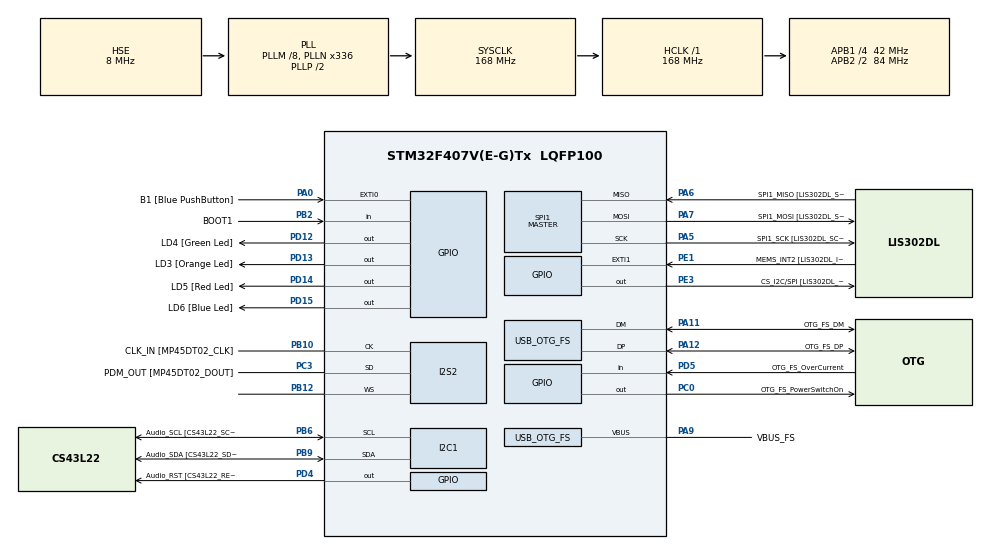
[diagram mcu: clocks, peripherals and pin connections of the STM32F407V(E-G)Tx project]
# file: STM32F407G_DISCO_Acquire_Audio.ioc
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Dma.Request0=SPI2_RX
Dma.SPI2_RX.0.Direction=DMA_PERIPH_TO_MEMORY
Dma.SPI2_RX.0.FIFOMode=DMA_FIFOMODE_DISABLE
Dma.SPI2_RX.0.Instance=DMA1_Stream3
Dma.SPI2_RX.0.MemDataAlignment=DMA_MDATAALIGN_HALFWORD
Dma.SPI2_RX.0.MemInc=DMA_MINC_ENABLE
Dma.SPI2_RX.0.Mode=DMA_CIRCULAR
Dma.SPI2_RX.0.PeriphDataAlignment=DMA_PDATAALIGN_HALFWORD
Dma.SPI2_RX.0.PeriphInc=DMA_PINC_DISABLE
Dma.SPI2_RX.0.Priority=DMA_PRIORITY_LOW
I2S2.AudioFreq=I2S_AUDIOFREQ_48K
I2S2.DataFormat=I2S_DATAFORMAT_16B_EXTENDED
I2S2.ErrorAudioFreq=0.8 %
I2S2.FullDuplexMode=I2S_FULLDUPLEXMODE_DISABLE
I2S2.Instance=SPI$Index
I2S2.Mode=I2S_MODE_MASTER_RX
I2S2.RealAudioFreq=48.387 KHz
I2S2.Standard=I2S_STANDARD_MSB
I2S2.VirtualMode=I2S_MODE_MASTER
Mcu.Family=STM32F4
Mcu.Name=STM32F407V(E-G)Tx
Mcu.Package=LQFP100
NVIC.DMA1_Stream3_IRQn=true\:0\:0\:false\:false\:true\:false\:true\:true
NVIC.OTG_FS_IRQn=true\:0\:0\:false\:false\:true\:true\:true\:true
NVIC.PriorityGroup=NVIC_PRIORITYGROUP_0
PA0-WKUP.GPIO_Label=B1 [Blue PushButton]
PA0-WKUP.GPIO_ModeDefaultEXTI=GPIO_MODE_EVT_RISING
PA0-WKUP.GPIO_PuPd=GPIO_NOPULL
PA0-WKUP.Signal=GPXTI0
PA10.GPIO_Label=OTG_FS_ID
PA10.GPIO_Mode=GPIO_MODE_AF_PP
PA10.GPIO_PuPd=GPIO_NOPULL
PA10.GPIO_Speed=GPIO_SPEED_FREQ_LOW
PA10.Signal=USB_OTG_FS_ID
PA11.GPIO_Label=OTG_FS_DM
PA11.GPIO_Mode=GPIO_MODE_AF_PP
PA11.GPIO_PuPd=GPIO_NOPULL
PA11.GPIO_Speed=GPIO_SPEED_FREQ_LOW
PA11.Mode=Host_Only
PA11.Signal=USB_OTG_FS_DM
PA12.GPIO_Label=OTG_FS_DP
PA12.GPIO_Mode=GPIO_MODE_AF_PP
PA12.GPIO_PuPd=GPIO_NOPULL
PA12.GPIO_Speed=GPIO_SPEED_FREQ_LOW
PA12.Mode=Host_Only
PA12.Signal=USB_OTG_FS_DP
PA13.GPIO_Label=SWDIO
PA13.Mode=Serial_Wire
PA13.Signal=SYS_JTMS-SWDIO
PA14.GPIO_Label=SWCLK
PA14.Mode=Serial_Wire
PA14.Signal=SYS_JTCK-SWCLK
PA4.GPIO_Label=I2S3_WS [CS43L22_LRCK]
PA4.GPIO_Mode=GPIO_MODE_AF_PP
PA4.GPIO_PuPd=GPIO_NOPULL
PA4.GPIO_Speed=GPIO_SPEED_FREQ_LOW
PA4.Signal=I2S3_WS
PA5.GPIO_Label=SPI1_SCK [LIS302DL_SCL/SPC]
PA5.GPIO_Mode=GPIO_MODE_AF_PP
PA5.GPIO_PuPd=GPIO_NOPULL
PA5.GPIO_Speed=GPIO_SPEED_FREQ_LOW
PA5.Mode=Full_Duplex_Master
PA5.Signal=SPI1_SCK
PA6.GPIO_Label=SPI1_MISO [LIS302DL_SDO]
PA6.GPIO_Mode=GPIO_MODE_AF_PP
PA6.GPIO_PuPd=GPIO_NOPULL
PA6.GPIO_Speed=GPIO_SPEED_FREQ_LOW
PA6.Mode=Full_Duplex_Master
PA6.Signal=SPI1_MISO
PA7.GPIO_Label=SPI1_MOSI [LIS302DL_SDA/SDI/SDO]
PA7.GPIO_Mode=GPIO_MODE_AF_PP
PA7.GPIO_PuPd=GPIO_NOPULL
PA7.GPIO_Speed=GPIO_SPEED_FREQ_LOW
PA7.Mode=Full_Duplex_Master
PA7.Signal=SPI1_MOSI
PA9.GPIO_Label=VBUS_FS
PA9.GPIO_Mode=GPIO_MODE_INPUT
PA9.GPIO_PuPd=GPIO_NOPULL
PA9.Mode=Activate_VBUS
PA9.Signal=USB_OTG_FS_VBUS
PB10.GPIO_Label=CLK_IN [MP45DT02_CLK]
PB10.GPIO_Mode=GPIO_MODE_AF_PP
PB10.GPIO_PuPd=GPIO_NOPULL
PB10.GPIO_Speed=GPIO_SPEED_FREQ_LOW
PB10.Mode=Half_Duplex_Master
PB10.Signal=I2S2_CK
PB12.Mode=Half_Duplex_Master
PB12.Signal=I2S2_WS
PB2.GPIO_Label=BOOT1
PB2.GPIO_Mode=GPIO_MODE_INPUT
PB2.GPIO_PuPd=GPIO_NOPULL
PB2.Signal=GPIO_Input
PB3.GPIO_Label=SWO
PB3.Signal=SYS_JTDO-SWO
PB6.GPIO_Label=Audio_SCL [CS43L22_SCL]
PB6.GPIO_Mode=GPIO_MODE_AF_OD
PB6.GPIO_Pu=GPIO_PULLUP
PB6.GPIO_PuPd=GPIO_NOPULL
PB6.GPIO_Speed=GPIO_SPEED_FREQ_LOW
PB6.Mode=I2C
PB6.Signal=I2C1_SCL
PB9.GPIO_Label=Audio_SDA [CS43L22_SDA]
PB9.GPIO_Mode=GPIO_MODE_AF_OD
PB9.GPIO_Pu=GPIO_PULLUP
PB9.GPIO_PuPd=GPIO_NOPULL
PB9.GPIO_Speed=GPIO_SPEED_FREQ_LOW
PB9.Mode=I2C
PB9.Signal=I2C1_SDA
PC0.GPIO_Label=OTG_FS_PowerSwitchOn
PC0.GPIO_PuPd=GPIO_NOPULL
PC0.GPIO_Speed=GPIO_SPEED_FREQ_LOW
PC0.PinState=GPIO_PIN_SET
PC0.Signal=GPIO_Output
PC10.GPIO_Label=I2S3_SCK [CS43L22_SCLK]
PC10.GPIO_Mode=GPIO_MODE_AF_PP
PC10.GPIO_PuPd=GPIO_NOPULL
PC10.GPIO_Speed=GPIO_SPEED_FREQ_LOW
PC10.Signal=I2S3_CK
PC12.GPIO_Label=I2S3_SD [CS43L22_SDIN]
PC12.GPIO_Mode=GPIO_MODE_AF_PP
PC12.GPIO_PuPd=GPIO_NOPULL
PC12.GPIO_Speed=GPIO_SPEED_FREQ_LOW
PC12.Signal=I2S3_SD
PC14-OSC32_IN.GPIO_Label=PC14-OSC32_IN
PC14-OSC32_IN.Mode=LSE-External-Oscillator
PC14-OSC32_IN.Signal=RCC_OSC32_IN
PC15-OSC32_OUT.GPIO_Label=PC15-OSC32_OUT
PC15-OSC32_OUT.Mode=LSE-External-Oscillator
PC15-OSC32_OUT.Signal=RCC_OSC32_OUT
PC3.GPIO_Label=PDM_OUT [MP45DT02_DOUT]
PC3.GPIO_Mode=GPIO_MODE_AF_PP
PC3.GPIO_PuPd=GPIO_NOPULL
PC3.GPIO_Speed=GPIO_SPEED_FREQ_LOW
PC3.Mode=Half_Duplex_Master
PC3.Signal=I2S2_SD
PC7.GPIO_Label=I2S3_MCK [CS43L22_MCLK]
PC7.GPIO_Mode=GPIO_MODE_AF_PP
PC7.GPIO_PuPd=GPIO_NOPULL
PC7.GPIO_Speed=GPIO_SPEED_FREQ_LOW
PC7.Signal=I2S3_MCK
PD12.GPIO_Label=LD4 [Green Led]
PD12.GPIO_PuPd=GPIO_NOPULL
PD12.GPIO_Speed=GPIO_SPEED_FREQ_LOW
PD12.Signal=GPIO_Output
PD13.GPIO_Label=LD3 [Orange Led]
PD13.GPIO_PuPd=GPIO_NOPULL
PD13.GPIO_Speed=GPIO_SPEED_FREQ_LOW
PD13.Signal=GPIO_Output
PD14.GPIO_Label=LD5 [Red Led]
PD14.GPIO_PuPd=GPIO_NOPULL
PD14.GPIO_Speed=GPIO_SPEED_FREQ_LOW
PD14.Signal=GPIO_Output
PD15.GPIO_Label=LD6 [Blue Led]
PD15.GPIO_PuPd=GPIO_NOPULL
PD15.GPIO_Speed=GPIO_SPEED_FREQ_LOW
PD15.Signal=GPIO_Output
PD4.GPIO_Label=Audio_RST [CS43L22_RESET]
PD4.GPIO_PuPd=GPIO_NOPULL
PD4.GPIO_Speed=GPIO_SPEED_FREQ_LOW
PD4.Signal=GPIO_Output
PD5.GPIO_Label=OTG_FS_OverCurrent
PD5.GPIO_Mode=GPIO_MODE_INPUT
PD5.GPIO_PuPd=GPIO_NOPULL
PD5.Signal=GPIO_Input
PDM2PCM.CHANNEL1_bit_order=PDM_FILTER_BIT_ORDER_LSB
PDM2PCM.CHANNEL1_decimation_factor=PDM_FILTER_DEC_FACTOR_64
PDM2PCM.CHANNEL1_in_ptr_channels=1
PDM2PCM.CHANNEL1_out_ptr_channels=1
PDM2PCM.CHANNEL1_output_samples_number=48
PE1.GPIO_Label=MEMS_INT2 [LIS302DL_INT2]
PE1.GPIO_ModeDefaultEXTI=GPIO_MODE_EVT_RISING
PE1.GPIO_PuPd=GPIO_NOPULL
PE1.Signal=GPXTI1
PE3.GPIO_Label=CS_I2C/SPI [LIS302DL_CS_I2C/SPI]
PE3.GPIO_PuPd=GPIO_NOPULL
PE3.GPIO_Speed=GPIO_SPEED_FREQ_LOW
PE3.Signal=GPIO_Output
PH0-OSC_IN.GPIO_Label=PH0-OSC_IN
PH0-OSC_IN.Mode=HSE-External-Oscillator
PH0-OSC_IN.Signal=RCC_OSC_IN
PH1-OSC_OUT.GPIO_Label=PH1-OSC_OUT
PH1-OSC_OUT.Mode=HSE-External-Oscillator
PH1-OSC_OUT.Signal=RCC_OSC_OUT
ProjectManager.HeapSize=0x200
ProjectManager.StackSize=0x400
ProjectManager.TargetToolchain=STM32CubeIDE
RCC.48MHZClocksFreq_Value=48000000
RCC.AHBFreq_Value=168000000
RCC.APB1CLKDivider=RCC_HCLK_DIV4
RCC.APB1Freq_Value=42000000
RCC.APB1TimFreq_Value=84000000
RCC.APB2CLKDivider=RCC_HCLK_DIV2
RCC.APB2Freq_Value=84000000
RCC.APB2TimFreq_Value=168000000
RCC.CortexFreq_Value=168000000
RCC.HCLKFreq_Value=168000000
RCC.HSE_VALUE=8000000
RCC.HSI_VALUE=16000000
RCC.PLLM=8
RCC.PLLN=336
RCC.PLLQ=7
RCC.SYSCLKFreq_VALUE=168000000
RCC.SYSCLKSource=RCC_SYSCLKSOURCE_PLLCLK
RCC.VCOOutputFreq_Value=336000000
SPI1.BaudRatePrescaler-Full_Duplex_Master=SPI_BAUDRATEPRESCALER_2
SPI1.CalculateBaudRate-Full_Duplex_Master=42.0 MBits/s
SPI1.Direction=SPI_DIRECTION_2LINES
SPI1.Mode=SPI_MODE_MASTER
SPI1.Mode-Full_Duplex_Master=SPI_MODE_MASTER
SPI1.VirtualType=VM_MASTER
USB_HOST.BSP.number=1
USB_HOST.USBH_HandleTypeDef-CDC_FS=hUsbHostFS
USB_HOST.VirtualModeFS=Cdc
USB_HOST0.BSP.STBoard=false
USB_HOST0.BSP.api=Unknown
USB_HOST0.BSP.instance=PC0
USB_HOST0.BSP.ip=GPIO
USB_HOST0.BSP.mode=Output
USB_HOST0.BSP.name=Drive_VBUS_FS
USB_HOST0.BSP.solution=PC0
USB_OTG_FS.VirtualMode=Host_Only
USB_OTG_FS.phy_itface=HCD_PHY_EMBEDDED
VP_CRC_VS_CRC.Mode=CRC_Activate
VP_PDM2PCM_VS_PDM2PCM.Mode=PDM2PCM_Channel
VP_USB_HOST_VS_USB_HOST_CDC_FS.Mode=CDC_FS
board=STM32F407G-DISC1

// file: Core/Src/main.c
/* USER CODE BEGIN Header */
/**
  ******************************************************************************
  * @file           : main.c
  * @brief          : Main program body
  ******************************************************************************
  * @attention
  *
  * Copyright (c) 2024 STMicroelectronics.
  * All rights reserved.
  *
  * This software is licensed under terms that can be found in the LICENSE file
  * in the root directory of this software component.
  * If no LICENSE file comes with this software, it is provided AS-IS.
  *
  ******************************************************************************
  */
/* USER CODE END Header */
#include "main.h"
#include "pdm2pcm.h"
#include "usb_host.h"

CRC_HandleTypeDef hcrc;

I2C_HandleTypeDef hi2c1;

I2S_HandleTypeDef hi2s2;
DMA_HandleTypeDef hdma_spi2_rx;

SPI_HandleTypeDef hspi1;

void SystemClock_Config(void);
static void MX_GPIO_Init(void);
static void MX_DMA_Init(void);
static void MX_I2C1_Init(void);
static void MX_SPI1_Init(void);
static void MX_I2S2_Init(void);
static void MX_CRC_Init(void);
void MX_USB_HOST_Process(void);

/* USER CODE BEGIN 0 */
uint16_t txBuf[128];
uint16_t sample_data = 0;
uint16_t pdmRxBuf[128];
uint16_t MidBuffer[48];
uint8_t txstate = 0;
uint8_t rxstate = 0;

uint16_t fifobuf[256];
uint8_t fifo_w_ptr = 0;
uint8_t fifo_r_ptr = 0;
uint8_t fifo_read_enabled = 0;

void FifoWrite(uint16_t data) {
	fifobuf[fifo_w_ptr] = data;
	fifo_w_ptr++;
}

uint16_t FifoRead() {
	uint16_t val = fifobuf[fifo_r_ptr];
	fifo_r_ptr++;
	return val;
}
/* USER CODE END 0 */

int main(void)
{

  /* MCU Configuration--------------------------------------------------------*/

  /* Reset of all peripherals, Initializes the Flash interface and the Systick. */
  HAL_Init();

  /* Configure the system clock */
  SystemClock_Config();

  /* Initialize all configured peripherals */
  MX_GPIO_Init();
  MX_DMA_Init();
  MX_I2C1_Init();
  MX_SPI1_Init();
  MX_USB_HOST_Init();
  MX_I2S2_Init();
  MX_CRC_Init();
  MX_PDM2PCM_Init();
  /* USER CODE BEGIN 2 */

  HAL_I2S_Receive_DMA(&hi2s2, pdmRxBuf, 64);
  /* USER CODE END 2 */

  /* Infinite loop */
  while (1)
  {
    MX_USB_HOST_Process();

    /* USER CODE BEGIN 3 */
    if (rxstate==1) {           // Receiving is half complete.
    	PDM_Filter(&pdmRxBuf[0], &MidBuffer[0], &PDM1_filter_handler);
    	for (int i=0; i<16;i++) { FifoWrite(MidBuffer[i]); }
    	if (fifo_w_ptr-fifo_r_ptr > 128) fifo_read_enabled=1;
    	rxstate=0;        // Reset recieveing state
    }

    if (rxstate==2) {         // Write/Receieve the next half of data
    	PDM_Filter(&pdmRxBuf[64], &MidBuffer[0], &PDM1_filter_handler);
    	for (int i=0; i<16;i++) { FifoWrite(MidBuffer[i]); }
    	rxstate=0;
    }

    if (txstate==1) {       // Half done transmitting
    	if (fifo_read_enabled==1) {
        for (int i=0; i<64;i=i+4) {
          uint16_t data = FifoRead();
          txBuf[i] = data;
          txBuf[i+2] = data;
        }
    	}
    	txstate=0;
    }

    if (txstate==2) {
    	if (fifo_read_enabled==1) {
        for (int i=64; i<128;i=i+4) {
          uint16_t data = FifoRead();
          txBuf[i] = data;
          txBuf[i+2] = data;
        }

		  }
    	txstate=0;
    }
    sample_data = fifobuf[0];
    printf("%u \n", sample_data);
  }
  /* USER CODE END 3 */
}

void SystemClock_Config(void)
{
  RCC_OscInitTypeDef RCC_OscInitStruct = {0};
  RCC_ClkInitTypeDef RCC_ClkInitStruct = {0};

  /** Configure the main internal regulator output voltage
  */
  __HAL_RCC_PWR_CLK_ENABLE();
  __HAL_PWR_VOLTAGESCALING_CONFIG(PWR_REGULATOR_VOLTAGE_SCALE1);

  /** Initializes the RCC Oscillators according to the specified parameters
  * in the RCC_OscInitTypeDef structure.
  */
  RCC_OscInitStruct.OscillatorType = RCC_OSCILLATORTYPE_HSE;
  RCC_OscInitStruct.HSEState = RCC_HSE_ON;
  RCC_OscInitStruct.PLL.PLLState = RCC_PLL_ON;
  RCC_OscInitStruct.PLL.PLLSource = RCC_PLLSOURCE_HSE;
  RCC_OscInitStruct.PLL.PLLM = 8;
  RCC_OscInitStruct.PLL.PLLN = 336;
  RCC_OscInitStruct.PLL.PLLP = RCC_PLLP_DIV2;
  RCC_OscInitStruct.PLL.PLLQ = 7;
  if (HAL_RCC_OscConfig(&RCC_OscInitStruct) != HAL_OK)
  {
    Error_Handler();
  }

  /** Initializes the CPU, AHB and APB buses clocks
  */
  RCC_ClkInitStruct.ClockType = RCC_CLOCKTYPE_HCLK|RCC_CLOCKTYPE_SYSCLK
                              |RCC_CLOCKTYPE_PCLK1|RCC_CLOCKTYPE_PCLK2;
  RCC_ClkInitStruct.SYSCLKSource = RCC_SYSCLKSOURCE_PLLCLK;
  RCC_ClkInitStruct.AHBCLKDivider = RCC_SYSCLK_DIV1;
  RCC_ClkInitStruct.APB1CLKDivider = RCC_HCLK_DIV4;
  RCC_ClkInitStruct.APB2CLKDivider = RCC_HCLK_DIV2;

  if (HAL_RCC_ClockConfig(&RCC_ClkInitStruct, FLASH_LATENCY_5) != HAL_OK)
  {
    Error_Handler();
  }
}

static void MX_CRC_Init(void)
{

  hcrc.Instance = CRC;
  if (HAL_CRC_Init(&hcrc) != HAL_OK)
  {
    Error_Handler();
  }
  __HAL_CRC_DR_RESET(&hcrc);

}

static void MX_I2C1_Init(void)
{

  hi2c1.Instance = I2C1;
  hi2c1.Init.ClockSpeed = 100000;
  hi2c1.Init.DutyCycle = I2C_DUTYCYCLE_2;
  hi2c1.Init.OwnAddress1 = 0;
  hi2c1.Init.AddressingMode = I2C_ADDRESSINGMODE_7BIT;
  hi2c1.Init.DualAddressMode = I2C_DUALADDRESS_DISABLE;
  hi2c1.Init.OwnAddress2 = 0;
  hi2c1.Init.GeneralCallMode = I2C_GENERALCALL_DISABLE;
  hi2c1.Init.NoStretchMode = I2C_NOSTRETCH_DISABLE;
  if (HAL_I2C_Init(&hi2c1) != HAL_OK)
  {
    Error_Handler();
  }

}

static void MX_I2S2_Init(void)
{

  hi2s2.Instance = SPI2;
  hi2s2.Init.Mode = I2S_MODE_MASTER_RX;
  hi2s2.Init.Standard = I2S_STANDARD_MSB;
  hi2s2.Init.DataFormat = I2S_DATAFORMAT_16B_EXTENDED;
  hi2s2.Init.MCLKOutput = I2S_MCLKOUTPUT_DISABLE;
  hi2s2.Init.AudioFreq = I2S_AUDIOFREQ_48K;
  hi2s2.Init.CPOL = I2S_CPOL_LOW;
  hi2s2.Init.ClockSource = I2S_CLOCK_PLL;
  hi2s2.Init.FullDuplexMode = I2S_FULLDUPLEXMODE_DISABLE;
  if (HAL_I2S_Init(&hi2s2) != HAL_OK)
  {
    Error_Handler();
  }

}

static void MX_SPI1_Init(void)
{

  /* SPI1 parameter configuration*/
  hspi1.Instance = SPI1;
  hspi1.Init.Mode = SPI_MODE_MASTER;
  hspi1.Init.Direction = SPI_DIRECTION_2LINES;
  hspi1.Init.DataSize = SPI_DATASIZE_8BIT;
  hspi1.Init.CLKPolarity = SPI_POLARITY_LOW;
  hspi1.Init.CLKPhase = SPI_PHASE_1EDGE;
  hspi1.Init.NSS = SPI_NSS_SOFT;
  hspi1.Init.BaudRatePrescaler = SPI_BAUDRATEPRESCALER_2;
  hspi1.Init.FirstBit = SPI_FIRSTBIT_MSB;
  hspi1.Init.TIMode = SPI_TIMODE_DISABLE;
  hspi1.Init.CRCCalculation = SPI_CRCCALCULATION_DISABLE;
  hspi1.Init.CRCPolynomial = 10;
  if (HAL_SPI_Init(&hspi1) != HAL_OK)
  {
    Error_Handler();
  }

}

static void MX_DMA_Init(void)
{

  /* DMA controller clock enable */
  __HAL_RCC_DMA1_CLK_ENABLE();

  /* DMA interrupt init */
  /* DMA1_Stream3_IRQn interrupt configuration */
  HAL_NVIC_SetPriority(DMA1_Stream3_IRQn, 0, 0);
  HAL_NVIC_EnableIRQ(DMA1_Stream3_IRQn);

}

static void MX_GPIO_Init(void)
{
  GPIO_InitTypeDef GPIO_InitStruct = {0};

  /* GPIO Ports Clock Enable */
  __HAL_RCC_GPIOE_CLK_ENABLE();
  __HAL_RCC_GPIOC_CLK_ENABLE();
  __HAL_RCC_GPIOH_CLK_ENABLE();
  __HAL_RCC_GPIOA_CLK_ENABLE();
  __HAL_RCC_GPIOB_CLK_ENABLE();
  __HAL_RCC_GPIOD_CLK_ENABLE();

  /*Configure GPIO pin Output Level */
  HAL_GPIO_WritePin(CS_I2C_SPI_GPIO_Port, CS_I2C_SPI_Pin, GPIO_PIN_RESET);

  /*Configure GPIO pin Output Level */
  HAL_GPIO_WritePin(OTG_FS_PowerSwitchOn_GPIO_Port, OTG_FS_PowerSwitchOn_Pin, GPIO_PIN_SET);

  /*Configure GPIO pin Output Level */
  HAL_GPIO_WritePin(GPIOD, LD4_Pin|LD3_Pin|LD5_Pin|LD6_Pin
                          |Audio_RST_Pin, GPIO_PIN_RESET);

  /*Configure GPIO pin : CS_I2C_SPI_Pin */
  GPIO_InitStruct.Pin = CS_I2C_SPI_Pin;
  GPIO_InitStruct.Mode = GPIO_MODE_OUTPUT_PP;
  GPIO_InitStruct.Pull = GPIO_NOPULL;
  GPIO_InitStruct.Speed = GPIO_SPEED_FREQ_LOW;
  HAL_GPIO_Init(CS_I2C_SPI_GPIO_Port, &GPIO_InitStruct);

  /*Configure GPIO pin : OTG_FS_PowerSwitchOn_Pin */
  GPIO_InitStruct.Pin = OTG_FS_PowerSwitchOn_Pin;
  GPIO_InitStruct.Mode = GPIO_MODE_OUTPUT_PP;
  GPIO_InitStruct.Pull = GPIO_NOPULL;
  GPIO_InitStruct.Speed = GPIO_SPEED_FREQ_LOW;
  HAL_GPIO_Init(OTG_FS_PowerSwitchOn_GPIO_Port, &GPIO_InitStruct);

  /*Configure GPIO pin : B1_Pin */
  GPIO_InitStruct.Pin = B1_Pin;
  GPIO_InitStruct.Mode = GPIO_MODE_EVT_RISING;
  GPIO_InitStruct.Pull = GPIO_NOPULL;
  HAL_GPIO_Init(B1_GPIO_Port, &GPIO_InitStruct);

  /*Configure GPIO pin : I2S3_WS_Pin */
  GPIO_InitStruct.Pin = I2S3_WS_Pin;
  GPIO_InitStruct.Mode = GPIO_MODE_AF_PP;
  GPIO_InitStruct.Pull = GPIO_NOPULL;
  GPIO_InitStruct.Speed = GPIO_SPEED_FREQ_LOW;
  GPIO_InitStruct.Alternate = GPIO_AF6_SPI3;
  HAL_GPIO_Init(I2S3_WS_GPIO_Port, &GPIO_InitStruct);

  /*Configure GPIO pin : BOOT1_Pin */
  GPIO_InitStruct.Pin = BOOT1_Pin;
  GPIO_InitStruct.Mode = GPIO_MODE_INPUT;
  GPIO_InitStruct.Pull = GPIO_NOPULL;
  HAL_GPIO_Init(BOOT1_GPIO_Port, &GPIO_InitStruct);

  /*Configure GPIO pins : LD4_Pin LD3_Pin LD5_Pin LD6_Pin
                           Audio_RST_Pin */
  GPIO_InitStruct.Pin = LD4_Pin|LD3_Pin|LD5_Pin|LD6_Pin
                          |Audio_RST_Pin;
  GPIO_InitStruct.Mode = GPIO_MODE_OUTPUT_PP;
  GPIO_InitStruct.Pull = GPIO_NOPULL;
  GPIO_InitStruct.Speed = GPIO_SPEED_FREQ_LOW;
  HAL_GPIO_Init(GPIOD, &GPIO_InitStruct);

  /*Configure GPIO pins : I2S3_MCK_Pin I2S3_SCK_Pin I2S3_SD_Pin */
  GPIO_InitStruct.Pin = I2S3_MCK_Pin|I2S3_SCK_Pin|I2S3_SD_Pin;
  GPIO_InitStruct.Mode = GPIO_MODE_AF_PP;
  GPIO_InitStruct.Pull = GPIO_NOPULL;
  GPIO_InitStruct.Speed = GPIO_SPEED_FREQ_LOW;
  GPIO_InitStruct.Alternate = GPIO_AF6_SPI3;
  HAL_GPIO_Init(GPIOC, &GPIO_InitStruct);

  /*Configure GPIO pin : OTG_FS_OverCurrent_Pin */
  GPIO_InitStruct.Pin = OTG_FS_OverCurrent_Pin;
  GPIO_InitStruct.Mode = GPIO_MODE_INPUT;
  GPIO_InitStruct.Pull = GPIO_NOPULL;
  HAL_GPIO_Init(OTG_FS_OverCurrent_GPIO_Port, &GPIO_InitStruct);

  /*Configure GPIO pin : MEMS_INT2_Pin */
  GPIO_InitStruct.Pin = MEMS_INT2_Pin;
  GPIO_InitStruct.Mode = GPIO_MODE_EVT_RISING;
  GPIO_InitStruct.Pull = GPIO_NOPULL;
  HAL_GPIO_Init(MEMS_INT2_GPIO_Port, &GPIO_InitStruct);

}

/* USER CODE BEGIN 4 */

void HAL_I2S_TxHalfCpltCallback (I2S_HandleTypeDef *hi2s) {
	txstate = 1;
}

void HAL_I2S_TxCpltCallback (I2S_HandleTypeDef *hi2s) {
	txstate = 2;
}

void HAL_I2S_RxHalfCpltCallback (I2S_HandleTypeDef *hi2s) {
	rxstate = 1;
}

void HAL_I2S_RxCpltCallback (I2S_HandleTypeDef *hi2s) {
	rxstate = 2;
}

int _write(int file, char *ptr, int len)
{
  (void)file;
  int DataIdx;

  for (DataIdx = 0; DataIdx < len; DataIdx++)
  {
    ITM_SendChar(*ptr++);
  }
  return len;
}

/* USER CODE END 4 */

void Error_Handler(void)
{
  __disable_irq();
  while (1)
  {
  }
}
